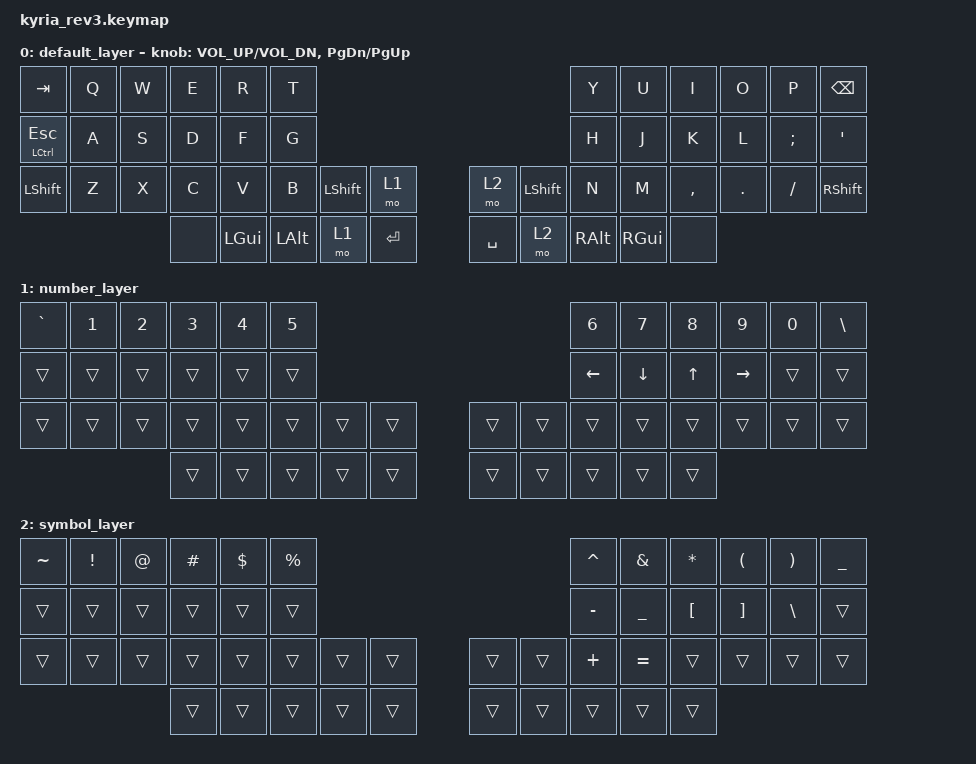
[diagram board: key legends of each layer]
/*
 * Copyright (c) 2023 The ZMK Contributors
 *
 * SPDX-License-Identifier: MIT
 */

#include <behaviors.dtsi>
#include <dt-bindings/zmk/keys.h>

/ {
    keymap {
        compatible = "zmk,keymap";

        default_layer {
            // ---------------------------------------------------------------------------------------------------------------------------------
            // |  ESC  |  Q  |  W  |  E   |  R   |  T   |                                          |  Y   |  U    |  I    |  O   |   P   |   \  |
            // |  TAB  |  A  |  S  |  D   |  F   |  G   |                                          |  H   |  J    |  K    |  L   |   ;   |   '  |
            // | SHIFT |  Z  |  X  |  C   |  V   |  B   | L SHIFT | L SHIFT |  | LAYER 1 | L SHIFT |  N   |  M    |  ,    |  .   |   /   | CTRL |
            //                     | GUI  | DEL  | RET  |  SPACE  |   ESC   |  |   RET   |  SPACE  | TAB  | BSPC  | R-ALT |
            bindings = <
            &kp TAB   &kp Q &kp W &kp E &kp R &kp T                                                  &kp Y &kp U  &kp I     &kp O   &kp P    &kp BSPC
            &mt LCTRL ESC   &kp A &kp S &kp D &kp F &kp G                                            &kp H &kp J  &kp K     &kp L   &kp SEMI &kp SQT
            &kp LSHFT &kp Z &kp X &kp C &kp V &kp B &kp LSHFT &mo 1              &mo 2   &kp LSHFT &kp N &kp M  &kp COMMA &kp DOT &kp FSLH &kp RSHFT
                                  &none &kp LGUI &kp LALT &mo 1 &kp RET       &kp SPACE &mo 2 &kp RALT &kp RGUI &none
            >;

            sensor-bindings = <&inc_dec_kp C_VOL_UP C_VOL_DN &inc_dec_kp PG_DN PG_UP>;
        };

        number_layer {
            // ---------------------------------------------------------------------------------------------------------------------------------
            // |   `   |  1  |  2  |  3  |  4  |  5  |                                          |  6  |  7  |  8  |  9  |  0  |  -  |
            // |       |     |     |     |     |     |                                          |     |     |     |     |     |  =  |
            // |       |     |     |     |     |     |      |      |      |      |      |      |     |     |     |     |     |     |
            //                     |      |      |      |      |      |      |      |      |      |      |      |
            bindings = <
                &kp GRAVE &kp N1 &kp N2 &kp N3 &kp N4 &kp N5                                             &kp N6 &kp N7 &kp N8 &kp N9 &kp N0 &kp BSLH
                &trans    &trans &trans &trans &trans &trans                                             &kp LEFT &kp DOWN &kp UP &kp RIGHT &trans &trans
                &trans &trans &trans &trans &trans &trans &trans &trans           &trans &trans &trans &trans &trans &trans &trans &trans  
                                        &trans &trans &trans &trans &trans        &trans &trans &trans &trans &trans
            >;
        };

        symbol_layer {
            // ---------------------------------------------------------------------------------------------------------------------------------
            // |   ~   |  !  |  @  |  #  |  $  |  %  |                                          |  ^  |  &  |  *  |  (  |  )  |  -  |
            // |       |     |     |     |     |     |                                          |     |     |     |     |     |  =  |
            // |       |     |     |     |     |     |      |      |      |      |      |      |     |     |     |     |     |     |
            //                     |      |      |      |      |      |      |      |      |      |      |      |
            bindings = <
                &kp TILDE &kp EXCL &kp AT &kp HASH &kp DLLR &kp PRCNT                               &kp CARET &kp AMPS &kp ASTRK &kp LPAR &kp RPAR &kp UNDER
                &trans    &trans &trans &trans &trans &trans                               &kp MINUS &kp UNDER &kp LEFT_BRACKET &kp RIGHT_BRACKET &kp BSLH &trans
                &trans &trans &trans &trans  &trans &trans &trans &trans                   &trans &trans &kp PLUS &kp EQUAL &trans &trans &trans &trans
                                        &trans &trans &trans &trans &trans          &trans &trans &trans &trans &trans
            >;
        };
    };
};
